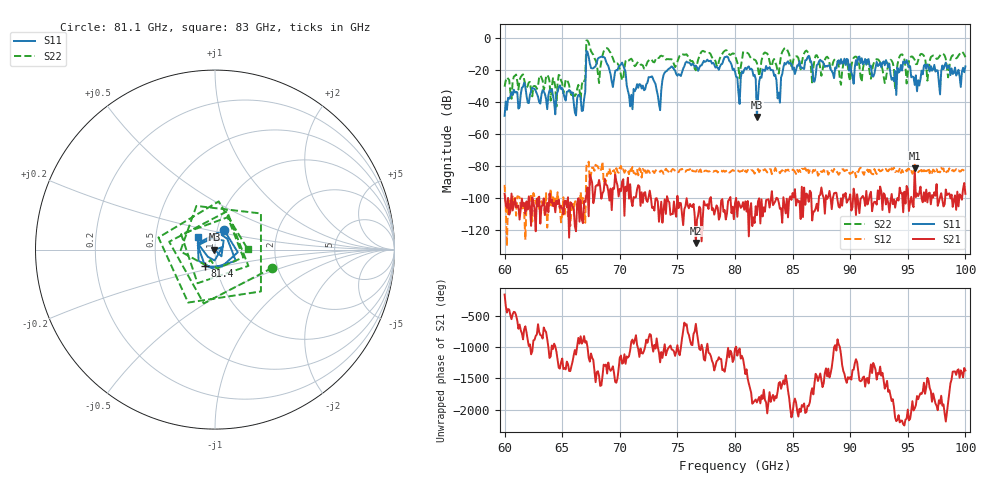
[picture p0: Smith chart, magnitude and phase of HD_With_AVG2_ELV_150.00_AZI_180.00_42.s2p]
! 11/25/2026 10:31:12 AM
! C:\ANRITSUVNA\TEMP\TEMP.S2P
! CHANNEL.1
! TR.MEASUREMENT
! RAW.DATA
# HZ S RI R 50.0
! FREQ.HZ  S11RE  S11IM  S21RE  S21IM  S12RE  S12IM  S22RE  S22IM
!; PortSelection: Port_12
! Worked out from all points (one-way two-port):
!   401 points, 60 GHz to 100 GHz, reference 50 ohm
!   highest |S21| = -81.23 dB at 95.6 GHz (marker M1); lowest = -128.0 dB at 76.6 GHz (marker M2)
!   lowest |S11| = -49.4 dB at 81.9 GHz (marker M3), VSWR 1.01, Z = 49.7 + j0.00391 ohm
!   |S11| at or under -10 dB: start of sweep to 67.09 GHz; 67.23 GHz to end of sweep
!   |S22| runs from -42.9 to -1.7 dB; largest |S21 - S12| = 0.00014
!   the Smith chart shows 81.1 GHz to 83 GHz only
!   S11 on the Smith chart (normalised r, x): 81.1 GHz: 1.08, +0.24; 81.4 GHz: 0.88, -0.17; 83 GHz: 0.82, +0.12
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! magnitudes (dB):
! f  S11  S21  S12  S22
! 60 GHz  -48.7  -97.3  -91.8  -30.5
! 61.6 GHz  -30.6  -105.2  -103.3  -22.8
! 66.7 GHz  -45.7  -113.5  -103.4  -29.5
! 67.3 GHz  -12.1  -111.3  -77.3  -3.2
! 68.4 GHz  -11.8  -100.4  -81.9  -14.7
! 70.3 GHz  -17.5  -88.2  -82.1  -25.5
! 70.9 GHz  -42.8  -91.4  -81.1  -13.5
! 72.7 GHz  -24.4  -99.8  -83.0  -13.3
! 73.4 GHz  -41.2  -114.8  -82.9  -12.6
! 74.3 GHz  -19.1  -102.7  -83.8  -13.4
! 76.6 GHz  -17.4  -128.0  -83.5  -20.3
! 80 GHz  -21.2  -103.2  -82.8  -11.0
! 81.1 GHz  -18.4  -101.8  -82.5  -9.5
! 81.4 GHz  -19.3  -103.1  -82.6  -13.0
! 81.9 GHz  -49.4  -110.7  -82.7  -15.7
! 83 GHz  -18.4  -105.9  -82.1  -14.8
! 83.8 GHz  -34.3  -102.8  -82.7  -22.4
! 84.5 GHz  -15.6  -100.4  -82.8  -7.0
! 86.7 GHz  -17.5  -114.0  -84.3  -27.9
! 93.4 GHz  -16.4  -108.9  -82.1  -15.6
! 95.6 GHz  -29.4  -81.2  -79.2  -13.7
! 100 GHz  -17.9  -97.4  -83.2  -12.1
